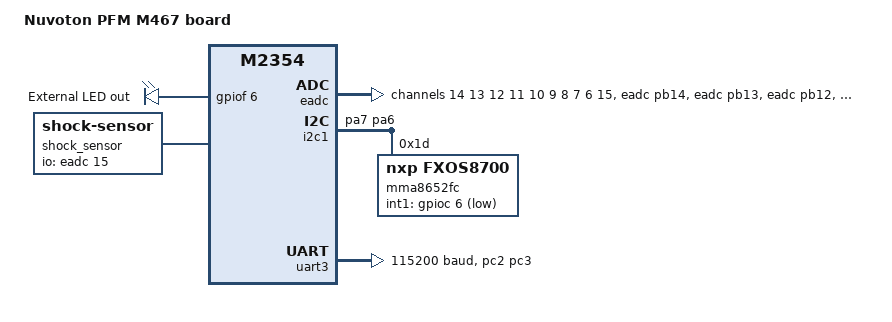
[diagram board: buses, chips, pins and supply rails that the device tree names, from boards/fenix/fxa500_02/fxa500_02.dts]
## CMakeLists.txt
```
# SPDX-License-Identifier: Apache-2.0

cmake_minimum_required(VERSION 3.20.0)

find_package(Zephyr REQUIRED HINTS $ENV{ZEPHYR_BASE})
project(fenix-fx500-hello-world)

# include(${ZEPHYR_BASE}/samples/subsys/usb/common/common.cmake)
# #target_include_directories(app PRIVATE ${ZEPHYR_BASE}/subsys/usb)

target_sources(app PRIVATE src/main.c)
target_sources_ifdef(CONFIG_DT_HAS_GPIO_LEDS_ENABLED app PRIVATE src/led.c)

# target_sources(app PRIVATE src/usb/sfunc.c)

# target_sources_ifdef(CONFIG_DT_HAS_ZEPHYR_SHOCK_SENSOR_ENABLED app PRIVATE src/shock_sensor.c)
```

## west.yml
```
manifest:
  remotes:
    - name: zephyrproject-rtos
      url-base: https://github.com/zephyrproject-rtos
    - name: baden
      url-base: https://github.com/baden
    - name: badenwork
      url-base: https://github.com/badenwork
    - name: FenixUkraine
      url-base: https://github.com/FenixUkraine

  group-filter: [-bsec2]

  projects:
    - name: zephyr
      remote: zephyrproject-rtos
      #revision: v4.1.0
      revision: main
      clone-depth: 1
      path: zephyr
      import:
        path-prefix: deps
        name-allowlist:
          - cmsis_6
          - littlefs
          - lz4
          # - hal_wch
          - hal_stm32
          - mcuboot
          - net-tools
        # name-blocklist:
        #   - ci-tools
        #   - hal_altera
        #   - hal_cypress
        #   - hal_infineon
        #   - hal_microchip
        #   - hal_nxp
        #   - hal_openisa
        #   - hal_silabs
        #   - hal_xtensa
        #   - hal_ti
        #   - loramac-node
        #   - net-tools
        #   - edtt
        #   - trusted-firmware-m
        #   - sof
      clone-depth: 1

    - name: zephyr-boards
      remote: FenixUkraine
      revision: main
      clone-depth: 1
      path: deps/zephyr-boards

    # - name: zephyr-soc-nuvoton-m2354
    #   remote: baden
    #   revision: main
    #   path: modules/zephyr/soc/nuvoton/m2354

    # - name: hal_nuvoton
    #   remote: badenwork
    #   revision: master
    #   path: modules/hal/nuvoton

    # - name: shock-sensor-driver
    #   path: modules/shock-sensor-driver
    #   url: https://github.com/baden/zephyr-shock-sensor-driver.git
    #   revision: main


  self:
    west-commands: scripts/west-commands.yml
```

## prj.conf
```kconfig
CONFIG_CAN=y
CONFIG_CAN_FD_MODE=y
# CONFIG_CAN_LOG_LEVEL_DBG=y
CONFIG_CAN_SHELL=y

# CONFIG_STATS=y
# CONFIG_STATS_NAMES=y
# CONFIG_STATS_SHELL=y
# CONFIG_CAN_STATS=y


# CONFIG_ARM_MPU=n
#CONFIG_KERNEL_MEM_POOL=n
CONFIG_BUILD_OUTPUT_HEX=y

CONFIG_PRINTK=y
CONFIG_LOG_PRINTK=n
CONFIG_STDOUT_CONSOLE=y

CONFIG_TRUSTED_EXECUTION_SECURE=n

CONFIG_LOG=y
# CONFIG_LOG_MODE_DEFERRED=y
CONFIG_LOG_MODE_IMMEDIATE=y
CONFIG_LOG_BACKEND_SHOW_COLOR=n
CONFIG_LOG_MAX_LEVEL=4
CONFIG_DEBUG=y
CONFIG_ASSERT=y
#CONFIG_DEBUG_INFO=y
CONFIG_EXCEPTION_STACK_TRACE=y
CONFIG_DEBUG_THREAD_INFO=y
CONFIG_SYMTAB=y

CONFIG_SHELL=y

# CONFIG_APP_LOG_LEVEL_DBG=y

CONFIG_MAIN_STACK_SIZE=16384
CONFIG_SYSTEM_WORKQUEUE_STACK_SIZE=4096
CONFIG_INIT_STACKS=y


CONFIG_THREAD_ANALYZER=n
CONFIG_THREAD_ANALYZER_AUTO=y
CONFIG_THREAD_ANALYZER_AUTO_INTERVAL=300
# CONFIG_THREAD_ANALYZER_USE_PRINTK=y
CONFIG_THREAD_ANALYZER_USE_LOG=y
CONFIG_THREAD_ANALYZER_AUTO_STACK_SIZE=2048



# USB CDC (?)

#CONFIG_USB_DEVICE_STACK=y
#CONFIG_USB_DEVICE_PRODUCT="Fenix CDC ACM"
#CONFIG_USB_DEVICE_PID=0x0001
#CONFIG_USB_DRIVER_LOG_LEVEL_ERR=y
#CONFIG_USB_DEVICE_LOG_LEVEL_ERR=y
##CONFIG_SERIAL=y
##CONFIG_UART_INTERRUPT_DRIVEN=y
##CONFIG_UART_LINE_CTRL=y
#CONFIG_USB_DEVICE_INITIALIZE_AT_BOOT=n


# USB WEBUSB

##CONFIG_STDOUT_CONSOLE=y
#CONFIG_USB_DEVICE_STACK=y
#CONFIG_USB_DEVICE_BOS=y
#CONFIG_SERIAL=y
#CONFIG_USB_DEVICE_PRODUCT="Zephyr WebUSB sample"
#CONFIG_USB_DEVICE_PID=0x000A
#CONFIG_UART_INTERRUPT_DRIVEN=y
#CONFIG_UART_LINE_CTRL=y
#CONFIG_USB_DEVICE_INITIALIZE_AT_BOOT=n

#CONFIG_USB_DRIVER_LOG_LEVEL_ERR=y
#CONFIG_USB_DEVICE_LOG_LEVEL_ERR=y


CONFIG_USB_DEVICE_STACK_NEXT=y
CONFIG_CDC_ACM_SERIAL_INITIALIZE_AT_BOOT=n

CONFIG_LOG=y
CONFIG_USBD_LOG_LEVEL_WRN=y
CONFIG_UDC_DRIVER_LOG_LEVEL_WRN=y
CONFIG_SAMPLE_USBD_PID=0x000A
CONFIG_SAMPLE_USBD_20_EXTENSION_DESC=y
CONFIG_USBD_THREAD_STACK_SIZE=8096


# NEXT?

#CONFIG_USB_DEVICE_STACK_NEXT=y
#CONFIG_STDOUT_CONSOLE=y
#CONFIG_SERIAL=y
#CONFIG_UART_LINE_CTRL=y
#CONFIG_USBD_CDC_ACM_CLASS=y
#CONFIG_LOG=y
#CONFIG_USBD_LOG_LEVEL_WRN=y
#CONFIG_UDC_DRIVER_LOG_LEVEL_WRN=y
#CONFIG_USBD_CDC_ACM_LOG_LEVEL_ERR=y
#CONFIG_SAMPLE_USBD_PID=0x0001
#CONFIG_SAMPLE_USBD_PRODUCT="USBD CDC ACM sample"



# The two lines below are needed to reduce flash usage
CONFIG_LTO=y
CONFIG_ISR_TABLES_LOCAL_DECLARATION=y
```

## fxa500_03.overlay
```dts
&shock_sensor {
    status = "disabled";
};

&fdcan1 {
	status = "okay";
};

&fdcan2 {
	status = "okay";
};
```

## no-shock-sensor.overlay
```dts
&shock_sensor {
    status = "disabled";
};
```

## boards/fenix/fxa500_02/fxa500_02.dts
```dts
/*
 * Copyright (c) 2023 Nuvoton Technology Corporation.
 *
 * SPDX-License-Identifier: Apache-2.0
 */

/dts-v1/;

#include <nuvoton/m2354.dtsi>
// #include "fxa500_02-pinctrl.dtsi"
#include <zephyr/dt-bindings/input/input-event-codes.h>

/ {
	model = "Nuvoton PFM M467 board";
	compatible = "nuvoton,pfm-m467", "nuvoton,m2354";

	aliases {
		led0 = &out_led;
		// sw0 = &user_button_1;
		// sw1 = &user_button_2;
		// lte = &gsm;
		adc0 = &eadc;

		// analog-inputs = &analog_inputs0;
		// v12v = &v12v;
		// shake-sensor = &shake_sensor;
		accelerometer = &accel_sensor;
		shock-sensor = &shock_sensor;
	};

	chosen {
		zephyr,console = &uart3;
		zephyr,shell-uart = &uart3;
		zephyr,sram = &sram0;
		zephyr,flash = &flash0;
		zephyr,code-partition = &code_partition;
		zephyr,boot-partition = &boot_partition;
		// zephyr,canbus = &canfd0;
	};

	leds {
		compatible = "gpio-leds";
		// status = "disabled";
		out_led: led_0 {
			gpios = <&gpiof 6 GPIO_ACTIVE_HIGH>;
			label = "External LED out";
		};
	};

	// v12v: v12v {
	// 	compatible = "voltage-divider";
	// 	status = "okay";
	// 	io-channels = <&eadc 6>;
	// 	// Cheat! Multiply by 1000 for millivolts is voltage divider sensor output
	// 	full-ohms = <(20000 + 2000)>;
	// 	output-ohms = <2>;
	// };

	// shake_sensor: shake_sensor {
	// 	compatible = "voltage-divider";
	// 	status = "okay";
	// 	io-channels = <&eadc 15>;
	// 	// Cheat! Multiply by 1000 for millivolts is voltage divider sensor output
	// 	full-ohms = <1000>;
	// 	output-ohms = <1>;
	// };

	shock_sensor: shock_sensor {
		compatible = "zephyr,shock-sensor";
		status = "okay";
		// status = "disabled";
		io-channels = <&eadc 15>;
		sampling-period-ms = <2>;
		// sampling-period-ms = <10>;
	};

	// analog_inputs0: analog-input {
	// 	compatible = "analog-input";
	// 	// poll-period-ms = <32>;
	// 	poll-period-ms = <100>;

	// 	in1 {
	// 		id = <0>;
	// 		io-channels = <&eadc 14>;
	// 		r_top = <1100>;
	// 		r_bottom = <200>;
	// 	};

	// 	in2 {
	// 		id = <1>;
	// 		io-channels = <&eadc 13>;
	// 		r_top = <1100>;
	// 		r_bottom = <200>;
	// 	};

	// 	in3 {
	// 		id = <2>;
	// 		io-channels = <&eadc 12>;
	// 		r_top = <1100>;
	// 		r_bottom = <200>;
	// 	};

	// 	in4 {
	// 		id = <3>;
	// 		io-channels = <&eadc 11>;
	// 		r_top = <1100>;
	// 		r_bottom = <200>;
	// 	};

	// 	in5 {
	// 		id = <4>;
	// 		io-channels = <&eadc 10>;
	// 		r_top = <1100>;
	// 		r_bottom = <200>;
	// 	};

	// 	in6 {
	// 		id = <5>;
	// 		io-channels = <&eadc 9>;
	// 		r_top = <1100>;
	// 		r_bottom = <200>;
	// 	};

	// 	// TODO: Я спеціально поміняв місцями два останніх канали,
	// 	// щоб перевірити чи правильно буде працювати індексація
	// 	in8 {
	// 		id = <7>;
	// 		io-channels = <&eadc 7>;
	// 		r_top = <1100>;
	// 		r_bottom = <200>;
	// 	};

	// 	in7 {
	// 		id = <6>;
	// 		io-channels = <&eadc 8>;
	// 		r_top = <1100>;
	// 		r_bottom = <200>;
	// 	};

	// };
	
	zephyr,user {
		// compatible = "gpio-output";

		// ADC inputs
		// in-1-

		// Digital Inputs
		// in-2-gpios = <&gpiob 13 GPIO_ACTIVE_HIGH>;	// 2. Капот

		// Outputs
		// out-1-gpios = <&gpiob 4 GPIO_ACTIVE_HIGH>;	// 1. Сирена
		// out-2-gpios = <&gpiob 5 GPIO_ACTIVE_HIGH>;	// 2. Аварійка
		// out-3-gpios = <&gpioc 0 GPIO_ACTIVE_HIGH>;	// 3. Закривання ЦЗ
		// out-4-gpios = <&gpiod 3 GPIO_ACTIVE_HIGH>;	// 4. Відкривання ЦЗ
		// out-5-gpios = <&gpiod 1 GPIO_ACTIVE_HIGH>;	// 5. Відкривання багажника
		// out-6-gpios = <&gpioa 15 GPIO_ACTIVE_HIGH>;	// 6. Старт/Стоп
		// out-7-gpios = <&gpiod 2 GPIO_ACTIVE_HIGH>;	// 7. НЗБД
		// out-8-gpios = <&gpioa 14 GPIO_ACTIVE_HIGH>;	// 8. Канал 1

		// io-channels = <&eadc 12>, <&eadc 14>;
		// io-channels = <&eadc 14>;

		// Analog Inputs sorted by channed index
		// adc-channels = <&eadc 14>, <&eadc 13>, <&eadc 12>, <&eadc 11>, <&eadc 10>, <&eadc 9>, <&eadc 8>, <&eadc 7>, <&eadc 6>, <&eadc 15>;
		// io-channels = <&eadc 6>, <&eadc 7>, <&eadc 8>, <&eadc 9>, <&eadc 10>, <&eadc 11>, <&eadc 12>, <&eadc 13>, <&eadc 14>, <&eadc 15>;
		// io-channels = <&eadc 15>;
	};

	// fstab {
	// 	compatible = "zephyr,fstab";
	// 	lfs1: lfs1 {
	// 		compatible = "zephyr,fstab,littlefs";
	// 		read-size = <1>;
	// 		prog-size = <16>;
	// 		cache-size = <256>;
	// 		lookahead-size = <32>;
	// 		block-cycles = <512>;
	// 		partition = <&littlefs_partition>;
	// 		mount-point = "/lfs1";
	// 	};
	// };

	// gpio_keys {
	// 	compatible = "gpio-keys";
	// 	user_button_1: button_1 {
	// 		label = "User SW2";
	// 		gpios = <&gpioh 1 GPIO_ACTIVE_LOW>;
	// 		zephyr,code = <INPUT_KEY_0>;
	// 	};
	// 	user_button_2: button_2 {
	// 		label = "User SW3";
	// 		gpios = <&gpioh 0 GPIO_ACTIVE_LOW>;
	// 		zephyr,code = <INPUT_KEY_1>;
	// 	};
	// };
};

&eadc {
	#address-cells = <1>;
	#size-cells = <0>;
	status = "okay";

	// &eadc_pb14	/* In1. Запалювання */
	channel@14 {
		reg = <14>;
		zephyr,gain = "ADC_GAIN_1";
		zephyr,reference = "ADC_REF_INTERNAL";
		zephyr,acquisition-time = <ADC_ACQ_TIME_DEFAULT>;
		zephyr,resolution = <12>;
		// zephyr,oversampling = <0>;
		zephyr,vref-mv = <3300>;
	};

	// &eadc_pb13	/* In2. Капот */
	channel@13 {
		reg = <13>;
		zephyr,gain = "ADC_GAIN_1";
		zephyr,reference = "ADC_REF_INTERNAL";
		zephyr,acquisition-time = <ADC_ACQ_TIME_DEFAULT>;
		zephyr,resolution = <12>;
		// zephyr,oversampling = <0>;
		zephyr,vref-mv = <3300>;
	};

	// &eadc_pb12	/* In3. PIN */
	channel@12 {
		reg = <12>;
		zephyr,gain = "ADC_GAIN_1";
		zephyr,reference = "ADC_REF_INTERNAL";
		zephyr,acquisition-time = <ADC_ACQ_TIME_DEFAULT>;
		zephyr,resolution = <12>;
		// zephyr,oversampling = <0>;
		zephyr,vref-mv = <3300>;
	};

	// &eadc_pb11	/* In4. Парковка */
	channel@11 {
		reg = <11>;
		zephyr,gain = "ADC_GAIN_1";
		zephyr,reference = "ADC_REF_INTERNAL";
		zephyr,acquisition-time = <ADC_ACQ_TIME_DEFAULT>;
		zephyr,resolution = <12>;
		// zephyr,oversampling = <0>;
		zephyr,vref-mv = <3300>;
	};

	// &eadc_pb10	/* In5. Тормоз */
	channel@10 {
		reg = <10>;
		zephyr,gain = "ADC_GAIN_1";
		zephyr,reference = "ADC_REF_INTERNAL";
		zephyr,acquisition-time = <ADC_ACQ_TIME_DEFAULT>;
		zephyr,resolution = <12>;
		// zephyr,oversampling = <0>;
		zephyr,vref-mv = <3300>;
	};

	// &eadc_pb9	/* In6. Мастило */
	channel@9 {
		reg = <9>;
		zephyr,gain = "ADC_GAIN_1";
		zephyr,reference = "ADC_REF_INTERNAL";
		zephyr,acquisition-time = <ADC_ACQ_TIME_DEFAULT>;
		zephyr,resolution = <12>;
		// zephyr,oversampling = <0>;
		zephyr,vref-mv = <3300>;
	};

	// &eadc_pb8	/* In7. Ручка */
	channel@8 {
		reg = <8>;
		zephyr,gain = "ADC_GAIN_1";
		zephyr,reference = "ADC_REF_INTERNAL";
		zephyr,acquisition-time = <ADC_ACQ_TIME_DEFAULT>;
		zephyr,resolution = <12>;
		// zephyr,oversampling = <0>;
		zephyr,vref-mv = <3300>;
	};

	// &eadc_pb7	/* In8. Дозвіл/Резервне живлення */
	channel@7 {
		reg = <7>;
		zephyr,gain = "ADC_GAIN_1";
		zephyr,reference = "ADC_REF_INTERNAL";
		zephyr,acquisition-time = <ADC_ACQ_TIME_DEFAULT>;
		zephyr,resolution = <12>;
		// zephyr,oversampling = <0>;
		zephyr,vref-mv = <3300>;
	};

	// &eadc_pb6	/* +12V Основне живлення */
	channel@6 {
		reg = <6>;
		zephyr,gain = "ADC_GAIN_1";
		zephyr,reference = "ADC_REF_INTERNAL";
		zephyr,acquisition-time = <ADC_ACQ_TIME_DEFAULT>;
		zephyr,resolution = <12>;
		// zephyr,oversampling = <0>;
		zephyr,vref-mv = <3300>;
	};

	// &eadc_pb15	/* Датчик удару */
	channel@15 {
		reg = <15>;
		zephyr,gain = "ADC_GAIN_1";
		zephyr,reference = "ADC_REF_INTERNAL";
		zephyr,acquisition-time = <ADC_ACQ_TIME_DEFAULT>;
		zephyr,resolution = <12>;
		// zephyr,oversampling = <0>;
		zephyr,vref-mv = <3300>;
	};

	// // 	// vref-internal-mv = <3000>;
	pinctrl-0 = <
		&eadc_pb14	/* In1. Запалювання */
		&eadc_pb13	/* In2. Капот */
		&eadc_pb12	/* In3. PIN */
		&eadc_pb11	/* In4. Парковка */
		&eadc_pb10	/* In5. Тормоз */
		&eadc_pb9	/* In6. Мастило */
		&eadc_pb8	/* In7. Ручка */
		&eadc_pb7	/* In8. Дозвіл/Резервне живлення */
		&eadc_pb6	/* +12V Основне живлення */
		&eadc_pb15	/* Датчик удару */
	>;
	pinctrl-names = "default";

// 	#address-cells = <1>;
// 	#size-cells = <0>;
// 	vref-internal-mv = <3000>;

	// channel@14 {
	// 	reg = <14>;
	// 	zephyr,gain = "ADC_GAIN_1";
	// 	zephyr,reference = "ADC_REF_INTERNAL";
	// 	zephyr,acquisition-time = <ADC_ACQ_TIME_DEFAULT>;
	// 	zephyr,resolution = <12>;
	// 	zephyr,vref-mv = <3000>;
	// 	// label = "In1. Запалювання";

	// };
};

// &spi2 {
// 	status = "okay";
// 	pinctrl-0 = <&spi2_pa9_pa8_pa10>;
// 	pinctrl-names = "default";
// 	cs-gpios = <&gpioa 11 GPIO_ACTIVE_LOW>;

// 	spi2_flash: w25q128@0 {
// 		// compatible = "winbond,w25q128";
// 		compatible = "jedec,spi-nor";
// 		size = <(16*1024*1024)>;
// 		reg = <0>;
// 		spi-max-frequency = <1000000>;
// 		// clk-frequency = <25000000>;
// 		jedec-id = [ef 40 18];		// W25Q128JV-IN/IQ/JQ = 0xEF 40 18
// 									// W25Q128JV-IM*/JM* = 0xEF 70 18
// 		status = "okay";

// 		partitions {
// 			compatible = "fixed-partitions";
// 			#address-cells = <1>;
// 			#size-cells = <1>;

// 			/* This is the littlefs v1 file system pre-installed
// 		 	* by Particle.
// 		 	*/
// 			littlefs_partition: partition@0 {
// 				label = "littlefs";
// 				reg = <0x00000000 DT_SIZE_M(8)>;	// Eah! Half of entire memory.
// 			};

// 			/* 1MB partition to use for raw data storage. */
// 			storage_partition: partition@800000 {
// 				label = "storage";
// 				reg = <DT_SIZE_M(8) DT_SIZE_M(1)>;			
// 			};

// 			/* 7MB partition for GPS-buffer data. */
// 			gps_partition: partition@900000 {
// 				label = "gps";
// 				reg = <DT_SIZE_M(8) DT_SIZE_M(7)>;
// 			};


// 		};
// 	};
// };

&i2c1 {
  status = "okay";
  pinctrl-0 = <&i2c1_pa7_pa6>;
  pinctrl-names = "default";

  // Int on PC6/INT2
  mma8652fc: mma8652fc@1d {
    compatible = "nxp,fxos8700","nxp,mma8652fc";
    reg = <0x1d>;
    int1-gpios = <&gpioc 6 (GPIO_ACTIVE_LOW | GPIO_PULL_UP)>;
    // interrupt-parent = <&gpioc>;
    // interrupts = <6 IRQ_TYPE_EDGE_FALLING>;

    accel_sensor: accel_sensor {
      compatible = "zephyr,accel-sensor";
      sampling-period-ms = <1000>;
      status = "okay";
    };
  
  };
};

// // &scc {
// // 	/* For USB 1.1 Host/Device/OTG, configure to 192MHz, which can generate necessary 48MHz. */
// // 	/* For USB 2.0 Host/Device/OTG or no USB application, comment out to use default. */
// // 	// core-clock = <192000000>;
// // 	core-clock = <4000000>;
// // };

&gpioa {
	status = "okay";
};

&gpiob {
	status = "okay";
};

&gpioc {
	status = "okay";
};

&gpiod {
	status = "okay";
};

&gpiof {
	status = "okay";
};

&flash0 {
	partitions {
		compatible = "fixed-partitions";
		#address-cells = <1>;
		#size-cells = <1>;

		// bootloader: partition@0 {
		// 	label = "mcuboot";
		// 	reg = <0x00000000 0x00020000>;
		// 	read-only;
		// };

		// boot_partition: partition@100000 {
		// 	label = "mcuboot";
		// 	reg = <0x00100000 DT_SIZE_K(16)>;
		// };

		code_partition: partition@0 {
			label = "image-0";
			reg = <0x00000000 DT_SIZE_K(512)>;
		};

		// Значення налаштувань. Змінюються тільки при налаштуванні системи
		// Дві сторінки для запобігання втрати даних
		storage_partition_tpf: partition@80000 {
			label = "storage_tpf";
			reg = <0x80000 DT_SIZE_K(16)>;
		};

		// Збереження стану системи. Змінюється при будь-якій зміні стану системи.
		// Проводиться відкадений запис за для підвищення строку служби пам'яті.
		// Запис ведеться послідовно у три сторінки.
		// Використовуються Zephyr Memory Storage (ZMS)
		// https://docs.zephyrproject.org/latest/services/storage/zms/zms.html
		storage_partition_nvs: partition@84000 {
			label = "storage_nvs";
			reg = <0x84000 DT_SIZE_K(16)>;
		};

		// Список користувачів, та всяка інша інформація, яка рідко змінюється.
		storage_partition_nvs2: partition@88000 {
			label = "storage_partition_nvs2";
			reg = <0x88000 DT_SIZE_K(64)>;
		};

		// Збереження ключів.
		storage_partition_pc_public_key: partition@98000 {
			label = "storage_pc_public_key";
			reg = <0x98000 DT_SIZE_K(16)>;
		};

		// Нерозподілена область.
		storage_partition_unused: partition@9C000 {
			label = "storage_partition_unused";
			reg = <0x9C000 DT_SIZE_K(352)>;
		};
		
		// Останні 48 кілобайти для загрузчика (треба впевнитись шо не перекривається з іншими розділами!)
		boot_partition: partition@F4000 {
			label = "bootloader";
			reg = <(DT_SIZE_K(1024) - DT_SIZE_K(48)) DT_SIZE_K(48)>;
		};
	};
};

&uart3 {
	current-speed = <115200>;
	pinctrl-0 = <&uart3_pc2_pc3>;
	pinctrl-names = "default";
	status = "okay";
};

// &uart5 {
// 	current-speed = <115200>;
// 	pinctrl-0 = <&uart5_pa4_pa5>;
// 	pinctrl-names = "default";
// 	status = "okay";

// 	gsm: gsm-modem {
// 		compatible = "simcom,a7682e";
// 		label = "SIMCOM A7682E";

// 		/*status-gpios = <&portb 12 GPIO_ACTIVE_LOW>; */

// 		status-gpios = <&gpioc 7 GPIO_ACTIVE_HIGH>;
// 		dtr-gpios = <&gpioa 2 GPIO_ACTIVE_HIGH>;
// 		pwrkey-gpios = <&gpiof 4 GPIO_ACTIVE_HIGH>;
// 		power-gpios = <&gpioa 3 GPIO_ACTIVE_HIGH>;
// 	};

// };

// &canfd0 {
// 	bus-speed = <125000>;
// 	bus-speed-data = <1000000>;
// 	pinctrl-0 = <&canfd0_default>;
// 	pinctrl-names = "default";
// 	status = "okay";
// };

// &emac {
// 	pinctrl-0 = <&emac_default>;
// 	pinctrl-names = "default";
// 	status = "okay";
// };
```

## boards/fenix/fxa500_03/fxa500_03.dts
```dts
/*
 * Copyright (c) 2023 Nuvoton Technology Corporation.
 *
 * SPDX-License-Identifier: Apache-2.0
 */

/dts-v1/;
#include <st/h5/stm32h563Xi.dtsi>
#include <st/h5/stm32h563vgtx-pinctrl.dtsi>
#include <zephyr/dt-bindings/input/input-event-codes.h>

// #include <nuvoton/m2354.dtsi>
// // #include "fxa500_02-pinctrl.dtsi"
// #include <zephyr/dt-bindings/input/input-event-codes.h>

/ {
	model = "Fenix FXA500-03 board";
	compatible = "st,stm32h563";

	aliases {
		led0 = &out_led;
		// sw0 = &user_button_1;
		// sw1 = &user_button_2;
		// lte = &gsm;
		// adc0 = &eadc;

		// analog-inputs = &analog_inputs0;
		// v12v = &v12v;
		// shake-sensor = &shake_sensor;
		// accelerometer = &mma8652fc;

		// shock-sensor = &shock_sensor;
	};

	/*
	transceiver1: can-phy1 {
		compatible = "microchip,mcp2562fd", "can-transceiver-gpio";
		standby-gpios = <&gpiob 7 GPIO_ACTIVE_LOW>;
		max-bitrate = <5000000>;
		#phy-cells = <0>;
	};

	transceiver2: can-phy2 {
		compatible = "microchip,mcp2562fd", "can-transceiver-gpio";
		standby-gpios = <&gpioe 0 GPIO_ACTIVE_LOW>;
		max-bitrate = <5000000>;
		#phy-cells = <0>;
	};
	*/

	chosen {
		zephyr,console = &uart4;
		zephyr,shell-uart = &uart4;
		zephyr,sram = &sram1;
		zephyr,flash = &flash0;
		zephyr,code-partition = &code_partition;
		zephyr,boot-partition = &boot_partition;
		// zephyr,canbus = &fdcan1;
	};

	leds {
		compatible = "gpio-leds";
		// status = "disabled";
		out_led: led_0 {
			gpios = <&gpioc 9 GPIO_ACTIVE_HIGH>;
			label = "External LED out";
		};
	};

	// v12v: v12v {
	// 	compatible = "voltage-divider";
	// 	status = "okay";
	// 	io-channels = <&eadc 6>;
	// 	// Cheat! Multiply by 1000 for millivolts is voltage divider sensor output
	// 	full-ohms = <(20000 + 2000)>;
	// 	output-ohms = <2>;
	// };

	// shake_sensor: shake_sensor {
	// 	compatible = "voltage-divider";
	// 	status = "okay";
	// 	io-channels = <&eadc 15>;
	// 	// Cheat! Multiply by 1000 for millivolts is voltage divider sensor output
	// 	full-ohms = <1000>;
	// 	output-ohms = <1>;
	// };

	// shock_sensor: shock_sensor {
	// 	compatible = "zephyr,shock-sensor";
	// 	status = "okay";
	// 	// status = "disabled";
	// 	io-channels = <&eadc 15>;
	// 	sampling-period-ms = <2>;
	// 	// sampling-period-ms = <10>;
	// };

	// analog_inputs0: analog-input {
	// 	compatible = "analog-input";
	// 	// poll-period-ms = <32>;
	// 	poll-period-ms = <100>;

	// 	in1 {
	// 		id = <0>;
	// 		io-channels = <&eadc 14>;
	// 		r_top = <1100>;
	// 		r_bottom = <200>;
	// 	};

	// 	in2 {
	// 		id = <1>;
	// 		io-channels = <&eadc 13>;
	// 		r_top = <1100>;
	// 		r_bottom = <200>;
	// 	};

	// 	in3 {
	// 		id = <2>;
	// 		io-channels = <&eadc 12>;
	// 		r_top = <1100>;
	// 		r_bottom = <200>;
	// 	};

	// 	in4 {
	// 		id = <3>;
	// 		io-channels = <&eadc 11>;
	// 		r_top = <1100>;
	// 		r_bottom = <200>;
	// 	};

	// 	in5 {
	// 		id = <4>;
	// 		io-channels = <&eadc 10>;
	// 		r_top = <1100>;
	// 		r_bottom = <200>;
	// 	};

	// 	in6 {
	// 		id = <5>;
	// 		io-channels = <&eadc 9>;
	// 		r_top = <1100>;
	// 		r_bottom = <200>;
	// 	};

	// 	// TODO: Я спеціально поміняв місцями два останніх канали,
	// 	// щоб перевірити чи правильно буде працювати індексація
	// 	in8 {
	// 		id = <7>;
	// 		io-channels = <&eadc 7>;
	// 		r_top = <1100>;
	// 		r_bottom = <200>;
	// 	};

	// 	in7 {
	// 		id = <6>;
	// 		io-channels = <&eadc 8>;
	// 		r_top = <1100>;
	// 		r_bottom = <200>;
	// 	};

	// };

	zephyr,user {
		// compatible = "gpio-output";

		// ADC inputs
		// in-1-

		// Digital Inputs
		// in-2-gpios = <&gpiob 13 GPIO_ACTIVE_HIGH>;	// 2. Капот

		// Outputs
		// out-1-gpios = <&gpiob 4 GPIO_ACTIVE_HIGH>;	// 1. Сирена
		// out-2-gpios = <&gpiob 5 GPIO_ACTIVE_HIGH>;	// 2. Аварійка
		// out-3-gpios = <&gpioc 0 GPIO_ACTIVE_HIGH>;	// 3. Закривання ЦЗ
		// out-4-gpios = <&gpiod 3 GPIO_ACTIVE_HIGH>;	// 4. Відкривання ЦЗ
		// out-5-gpios = <&gpiod 1 GPIO_ACTIVE_HIGH>;	// 5. Відкривання багажника
		// out-6-gpios = <&gpioa 15 GPIO_ACTIVE_HIGH>;	// 6. Старт/Стоп
		// out-7-gpios = <&gpiod 2 GPIO_ACTIVE_HIGH>;	// 7. НЗБД
		// out-8-gpios = <&gpioa 14 GPIO_ACTIVE_HIGH>;	// 8. Канал 1

		// io-channels = <&eadc 12>, <&eadc 14>;
		// io-channels = <&eadc 14>;

		// Analog Inputs sorted by channed index
		// adc-channels = <&eadc 14>, <&eadc 13>, <&eadc 12>, <&eadc 11>, <&eadc 10>, <&eadc 9>, <&eadc 8>, <&eadc 7>, <&eadc 6>, <&eadc 15>;
		// io-channels = <&eadc 6>, <&eadc 7>, <&eadc 8>, <&eadc 9>, <&eadc 10>, <&eadc 11>, <&eadc 12>, <&eadc 13>, <&eadc 14>, <&eadc 15>;
		// io-channels = <&eadc 15>;
	};

	// fstab {
	// 	compatible = "zephyr,fstab";
	// 	lfs1: lfs1 {
	// 		compatible = "zephyr,fstab,littlefs";
	// 		read-size = <1>;
	// 		prog-size = <16>;
	// 		cache-size = <256>;
	// 		lookahead-size = <32>;
	// 		block-cycles = <512>;
	// 		partition = <&littlefs_partition>;
	// 		mount-point = "/lfs1";
	// 	};
	// };

	// gpio_keys {
	// 	compatible = "gpio-keys";
	// 	user_button_1: button_1 {
	// 		label = "User SW2";
	// 		gpios = <&gpioh 1 GPIO_ACTIVE_LOW>;
	// 		zephyr,code = <INPUT_KEY_0>;
	// 	};
	// 	user_button_2: button_2 {
	// 		label = "User SW3";
	// 		gpios = <&gpioh 0 GPIO_ACTIVE_LOW>;
	// 		zephyr,code = <INPUT_KEY_1>;
	// 	};
	// };
};

&clk_hse {
	clock-frequency = <DT_FREQ_M(8)>; /* STLink 8MHz clock */
	// hse-bypass;
	status = "okay";
};

&clk_hsi48 {
	status = "okay";
	// crs-usb-sof;
};

&clk_lse {
	status = "okay";
};

// PLL take 128...560MHz
&pll {
	div-m = <2>;	// 8MHx / 2 = 4MHz
	mul-n = <120>;	// 4MHz * 120 = 480MHz
	div-p = <2>;	// 480MHz / 2 = 240MHz (->SYSCLK)
	div-q = <3>;	// 480MHz / 3 = 160MHz (->FDCAN,...?)
	div-r = <2>;	// 480MHz / 2 = 80MHz
	clocks = <&clk_hse>;	// HSE = 8MHz
	status = "okay";
};

&rcc {
	clocks = <&pll>;
	clock-frequency = <DT_FREQ_M(240)>;
	ahb-prescaler = <1>;
	apb1-prescaler = <2>;
	apb2-prescaler = <1>;
	apb3-prescaler = <2>;
};

zephyr_udc0: &usb {
	pinctrl-0 = <&usb_dm_pa11 &usb_dp_pa12>;
	pinctrl-names = "default";
	status = "okay";
};

//&usb {
//	status = "okay";
/*	usb_cdc@0 {
		compatible = "usb,usb_cdc";
		status = "okay";
	};
*/
//};

/*
&fdcan1 {
	pinctrl-0 = <&fdcan1_rx_pb8 &fdcan1_tx_pb9>;
	pinctrl-names = "default";
	clocks = <&rcc STM32_CLOCK_BUS_APB1_2 0x00000200>,
		 <&rcc STM32_SRC_PLL1_Q FDCAN_SEL(1)>;
	clk-divider = <2>;
	phys = <&transceiver1>;
	status = "okay";
};

&fdcan2 {
	pinctrl-0 = <&fdcan2_rx_pb5 &fdcan2_tx_pb6>;
	pinctrl-names = "default";
	clocks = <&rcc STM32_CLOCK_BUS_APB1_2 0x00000200>,
		 <&rcc STM32_SRC_PLL1_Q FDCAN_SEL(1)>;
	clk-divider = <2>;
	phys = <&transceiver2>;
	status = "okay";
};
*/

// &eadc {
// 	#address-cells = <1>;
// 	#size-cells = <0>;
// 	status = "okay";

// 	// &eadc_pb14	/* In1. Запалювання */
// 	channel@14 {
// 		reg = <14>;
// 		zephyr,gain = "ADC_GAIN_1";
// 		zephyr,reference = "ADC_REF_INTERNAL";
// 		zephyr,acquisition-time = <ADC_ACQ_TIME_DEFAULT>;
// 		zephyr,resolution = <12>;
// 		// zephyr,oversampling = <0>;
// 		zephyr,vref-mv = <3300>;
// 	};

// 	// &eadc_pb13	/* In2. Капот */
// 	channel@13 {
// 		reg = <13>;
// 		zephyr,gain = "ADC_GAIN_1";
// 		zephyr,reference = "ADC_REF_INTERNAL";
// 		zephyr,acquisition-time = <ADC_ACQ_TIME_DEFAULT>;
// 		zephyr,resolution = <12>;
// 		// zephyr,oversampling = <0>;
// 		zephyr,vref-mv = <3300>;
// 	};

// 	// &eadc_pb12	/* In3. PIN */
// 	channel@12 {
// 		reg = <12>;
// 		zephyr,gain = "ADC_GAIN_1";
// 		zephyr,reference = "ADC_REF_INTERNAL";
// 		zephyr,acquisition-time = <ADC_ACQ_TIME_DEFAULT>;
// 		zephyr,resolution = <12>;
// 		// zephyr,oversampling = <0>;
// 		zephyr,vref-mv = <3300>;
// 	};

// 	// &eadc_pb11	/* In4. Парковка */
// 	channel@11 {
// 		reg = <11>;
// 		zephyr,gain = "ADC_GAIN_1";
// 		zephyr,reference = "ADC_REF_INTERNAL";
// 		zephyr,acquisition-time = <ADC_ACQ_TIME_DEFAULT>;
// 		zephyr,resolution = <12>;
// 		// zephyr,oversampling = <0>;
// 		zephyr,vref-mv = <3300>;
// 	};

// 	// &eadc_pb10	/* In5. Тормоз */
// 	channel@10 {
// 		reg = <10>;
// 		zephyr,gain = "ADC_GAIN_1";
// 		zephyr,reference = "ADC_REF_INTERNAL";
// 		zephyr,acquisition-time = <ADC_ACQ_TIME_DEFAULT>;
// 		zephyr,resolution = <12>;
// 		// zephyr,oversampling = <0>;
// 		zephyr,vref-mv = <3300>;
// 	};

// 	// &eadc_pb9	/* In6. Мастило */
// 	channel@9 {
// 		reg = <9>;
// 		zephyr,gain = "ADC_GAIN_1";
// 		zephyr,reference = "ADC_REF_INTERNAL";
// 		zephyr,acquisition-time = <ADC_ACQ_TIME_DEFAULT>;
// 		zephyr,resolution = <12>;
// 		// zephyr,oversampling = <0>;
// 		zephyr,vref-mv = <3300>;
// 	};

// 	// &eadc_pb8	/* In7. Ручка */
// 	channel@8 {
// 		reg = <8>;
// 		zephyr,gain = "ADC_GAIN_1";
// 		zephyr,reference = "ADC_REF_INTERNAL";
// 		zephyr,acquisition-time = <ADC_ACQ_TIME_DEFAULT>;
// 		zephyr,resolution = <12>;
// 		// zephyr,oversampling = <0>;
// 		zephyr,vref-mv = <3300>;
// 	};

// 	// &eadc_pb7	/* In8. Дозвіл/Резервне живлення */
// 	channel@7 {
// 		reg = <7>;
// 		zephyr,gain = "ADC_GAIN_1";
// 		zephyr,reference = "ADC_REF_INTERNAL";
// 		zephyr,acquisition-time = <ADC_ACQ_TIME_DEFAULT>;
// 		zephyr,resolution = <12>;
// 		// zephyr,oversampling = <0>;
// 		zephyr,vref-mv = <3300>;
// 	};

// 	// &eadc_pb6	/* +12V Основне живлення */
// 	channel@6 {
// 		reg = <6>;
// 		zephyr,gain = "ADC_GAIN_1";
// 		zephyr,reference = "ADC_REF_INTERNAL";
// 		zephyr,acquisition-time = <ADC_ACQ_TIME_DEFAULT>;
// 		zephyr,resolution = <12>;
// 		// zephyr,oversampling = <0>;
// 		zephyr,vref-mv = <3300>;
// 	};

// 	// &eadc_pb15	/* Датчик удару */
// 	channel@15 {
// 		reg = <15>;
// 		zephyr,gain = "ADC_GAIN_1";
// 		zephyr,reference = "ADC_REF_INTERNAL";
// 		zephyr,acquisition-time = <ADC_ACQ_TIME_DEFAULT>;
// 		zephyr,resolution = <12>;
// 		// zephyr,oversampling = <0>;
// 		zephyr,vref-mv = <3300>;
// 	};

// 	// // 	// vref-internal-mv = <3000>;
// 	pinctrl-0 = <
// 		&eadc_pb14	/* In1. Запалювання */
// 		&eadc_pb13	/* In2. Капот */
// 		&eadc_pb12	/* In3. PIN */
// 		&eadc_pb11	/* In4. Парковка */
// 		&eadc_pb10	/* In5. Тормоз */
// 		&eadc_pb9	/* In6. Мастило */
// 		&eadc_pb8	/* In7. Ручка */
// 		&eadc_pb7	/* In8. Дозвіл/Резервне живлення */
// 		&eadc_pb6	/* +12V Основне живлення */
// 		&eadc_pb15	/* Датчик удару */
// 	>;
// 	pinctrl-names = "default";

// // 	#address-cells = <1>;
// // 	#size-cells = <0>;
// // 	vref-internal-mv = <3000>;

// 	// channel@14 {
// 	// 	reg = <14>;
// 	// 	zephyr,gain = "ADC_GAIN_1";
// 	// 	zephyr,reference = "ADC_REF_INTERNAL";
// 	// 	zephyr,acquisition-time = <ADC_ACQ_TIME_DEFAULT>;
// 	// 	zephyr,resolution = <12>;
// 	// 	zephyr,vref-mv = <3000>;
// 	// 	// label = "In1. Запалювання";

// 	// };
// };

// &spi2 {
// 	status = "okay";
// 	pinctrl-0 = <&spi2_pa9_pa8_pa10>;
// 	pinctrl-names = "default";
// 	cs-gpios = <&gpioa 11 GPIO_ACTIVE_LOW>;

// 	spi2_flash: w25q128@0 {
// 		// compatible = "winbond,w25q128";
// 		compatible = "jedec,spi-nor";
// 		size = <(16*1024*1024)>;
// 		reg = <0>;
// 		spi-max-frequency = <1000000>;
// 		// clk-frequency = <25000000>;
// 		jedec-id = [ef 40 18];		// W25Q128JV-IN/IQ/JQ = 0xEF 40 18
// 									// W25Q128JV-IM*/JM* = 0xEF 70 18
// 		status = "okay";

// 		partitions {
// 			compatible = "fixed-partitions";
// 			#address-cells = <1>;
// 			#size-cells = <1>;

// 			/* This is the littlefs v1 file system pre-installed
// 		 	* by Particle.
// 		 	*/
// 			littlefs_partition: partition@0 {
// 				label = "littlefs";
// 				reg = <0x00000000 DT_SIZE_M(8)>;	// Eah! Half of entire memory.
// 			};

// 			/* 1MB partition to use for raw data storage. */
// 			storage_partition: partition@800000 {
// 				label = "storage";
// 				reg = <DT_SIZE_M(8) DT_SIZE_M(1)>;
// 			};

// 			/* 7MB partition for GPS-buffer data. */
// 			gps_partition: partition@900000 {
// 				label = "gps";
// 				reg = <DT_SIZE_M(8) DT_SIZE_M(7)>;
// 			};


// 		};
// 	};
// };

// &i2c1 {
// 	status = "okay";
// 	pinctrl-0 = <&i2c1_pa7_pa6>;
// 	pinctrl-names = "default";

// 	// Int on PC6/INT2
// 	mma8652fc: mma8652fc@1d {
// 		compatible = "nxp,fxos8700","nxp,mma8652fc";
// 		reg = <0x1d>;
// 		int1-gpios = <&gpioc 6 (GPIO_ACTIVE_LOW | GPIO_PULL_UP)>;
// 		// interrupt-parent = <&gpioc>;
// 		// interrupts = <6 IRQ_TYPE_EDGE_FALLING>;
// 	};
// };

// // &scc {
// // 	/* For USB 1.1 Host/Device/OTG, configure to 192MHz, which can generate necessary 48MHz. */
// // 	/* For USB 2.0 Host/Device/OTG or no USB application, comment out to use default. */
// // 	// core-clock = <192000000>;
// // 	core-clock = <4000000>;
// // };

&gpioa {
	status = "okay";
};

&gpiob {
	status = "okay";
};

&gpioc {
	status = "okay";
};

&gpiod {
	status = "okay";
};

&gpioe {
	status = "okay";
};

&gpioh {
	status = "okay";
};

&flash0 {
	partitions {
		compatible = "fixed-partitions";
		#address-cells = <1>;
		#size-cells = <1>;

		// bootloader: partition@0 {
		// 	label = "mcuboot";
		// 	reg = <0x00000000 0x00020000>;
		// 	read-only;
		// };

		// boot_partition: partition@100000 {
		// 	label = "mcuboot";
		// 	reg = <0x00100000 DT_SIZE_K(16)>;
		// };

		code_partition: partition@0 {
			label = "image-0";
			reg = <0x00000000 DT_SIZE_K(512)>;
		};

		// Значення налаштувань. Змінюються тільки при налаштуванні системи
		// Дві сторінки для запобігання втрати даних
		storage_partition_tpf: partition@80000 {
			label = "storage_tpf";
			reg = <0x80000 DT_SIZE_K(16)>;
		};

		// Збереження стану системи. Змінюється при будь-якій зміні стану системи.
		// Проводиться відкадений запис за для підвищення строку служби пам'яті.
		// Запис ведеться послідовно у три сторінки.
		// Використовуються Zephyr Memory Storage (ZMS)
		// https://docs.zephyrproject.org/latest/services/storage/zms/zms.html
		storage_partition_nvs: partition@84000 {
			label = "storage_nvs";
			reg = <0x84000 DT_SIZE_K(16)>;
		};

		// Список користувачів, та всяка інша інформація, яка рідко змінюється.
		storage_partition_nvs2: partition@88000 {
			label = "storage_partition_nvs2";
			reg = <0x88000 DT_SIZE_K(64)>;
		};

		// Збереження ключів.
		storage_partition_pc_public_key: partition@98000 {
			label = "storage_pc_public_key";
			reg = <0x98000 DT_SIZE_K(16)>;
		};

		// Нерозподілена область.
		storage_partition_unused: partition@9C000 {
			label = "storage_partition_unused";
			reg = <0x9C000 DT_SIZE_K(352)>;
		};

		// Останні 48 кілобайти для загрузчика (треба впевнитись шо не перекривається з іншими розділами!)
		boot_partition: partition@F4000 {
			label = "bootloader";
			reg = <(DT_SIZE_K(1024) - DT_SIZE_K(48)) DT_SIZE_K(48)>;
		};
	};
};

// &uart3 {
// 	current-speed = <115200>;
// 	pinctrl-0 = <&uart3_pc2_pc3>;
// 	pinctrl-names = "default";
// 	status = "okay";
// };

// Used for console and logging
&uart4 {
	pinctrl-0 = <&uart4_tx_pc10 &uart4_rx_pc11>;
	pinctrl-names = "default";
	current-speed = <115200>;
	status = "okay";
};

// Maybe will be used for ESP32 flashing
&usart1 {
	pinctrl-0 = <&usart1_tx_pa9 &usart1_rx_pa10>;
	pinctrl-names = "default";
	current-speed = <115200>;
	//status = "okay";
};


// Used for LIN
&uart12 {
	pinctrl-0 = <&uart12_tx_pe10 &uart12_rx_pe9>;
	pinctrl-names = "default";
	current-speed = <19200>;
	//status = "okay";
	// TODO: https://github.com/dragonlock2/zephyrboards/blob/main/boards/others/stm32_esc/stm32_esc.dts
    lin0: lin0 {
        compatible = "virtual,lin-uart";
        status = "okay";
        bitrate = <19200>;
        max-wait-percent = <200>;
    };
};


// Used for BLE (AT?)
&uart9 {
	pinctrl-0 = <&uart9_tx_pd15 &uart9_rx_pd14 &uart9_cts_pd0 &uart9_rts_pd13>;
	pinctrl-names = "default";
	current-speed = <115200>;
	hw-flow-control;
	//status = "okay";
    //atble: atble {
    //    compatible = "virtual,atble-uart";
    //    status = "okay";
    //};
};




&spi2 {
	pinctrl-0 = <&spi2_sck_pb13 &spi2_miso_pb14 &spi2_mosi_pb15>;
	pinctrl-names = "default";
	cs-gpios = <&gpiob 12 (GPIO_ACTIVE_LOW | GPIO_PULL_UP)>;
	status = "disabled";

	lis2dw12: lis2dw12@0 {
		compatible = "st,lis2dw12";
		spi-max-frequency = <1000000>;
		reg = <0>;
		irq-gpios = <&gpiod 8 GPIO_ACTIVE_HIGH>;
	};

};

&xspi1 {
	pinctrl-0 = <&octospi1_io0_pb1 &octospi1_io1_pb0
		     &octospi1_io2_pa7 &octospi1_io3_pa6
		     &octospi1_clk_pb2 &octospi1_ncs_pe11>;
	pinctrl-names = "default";
	status = "disabled";

	w25q128jv: w25q128jv@0 {
		status="okay";
		// compatible = "st,stm32-qspi-nor";
		// compatible = "jedec,spi-nor";
		compatible = "st,stm32-xspi-nor";
		reg = <0>;
		size = <DT_SIZE_M(16)>;
		spi-bus-width = <XSPI_QUAD_MODE>;
		// data-rate = <XSPI_DTR_TRANSFER>;
		data-rate = <XSPI_STR_TRANSFER>;
		// size = <DT_SIZE_M(128)>;
		// writeoc = "pp4io";
		// readoc = "read4io";
		ospi-max-frequency = <DT_FREQ_M(133)>;
		// sck-frequency = <DT_FREQ_M(133)>;
		// W25Q128JV-IN/IQ/JQ = 0xEF 40 18
		// W25Q128JV-IM*/JM* = 0xEF 70 18
		jedec-id = [ef 40 18];

		// has-dpd;
		// t-enter-dpd = <3000>;
		// t-exit-dpd = <3000>;

		// erase-block-size = <4096>;
		// write-block-size = <1>;

		partitions {
			compatible = "fixed-partitions";
			#address-cells = <1>;
			#size-cells = <1>;

			/* This is the littlefs v1 file system pre-installed
		 	* by Particle.
		 	*/
			littlefs_partition: partition@0 {
				label = "littlefs";
				reg = <0x00000000 DT_SIZE_M(8)>;	// Eah! Half of entire memory.
			};

			/* 1MB partition to use for raw data storage. */
			storage_partition: partition@800000 {
				label = "storage";
				reg = <DT_SIZE_M(8) DT_SIZE_M(1)>;
			};

			/* 7MB partition for GPS-buffer data. */
			gps_partition: partition@900000 {
				label = "gps";
				reg = <DT_SIZE_M(8) DT_SIZE_M(7)>;
			};
		};
	};

};

// &uart5 {
// 	current-speed = <115200>;
// 	pinctrl-0 = <&uart5_pa4_pa5>;
// 	pinctrl-names = "default";
// 	status = "okay";

// 	gsm: gsm-modem {
// 		compatible = "simcom,a7682e";
// 		label = "SIMCOM A7682E";

// 		/*status-gpios = <&portb 12 GPIO_ACTIVE_LOW>; */

// 		status-gpios = <&gpioc 7 GPIO_ACTIVE_HIGH>;
// 		dtr-gpios = <&gpioa 2 GPIO_ACTIVE_HIGH>;
// 		pwrkey-gpios = <&gpiof 4 GPIO_ACTIVE_HIGH>;
// 		power-gpios = <&gpioa 3 GPIO_ACTIVE_HIGH>;
// 	};

// };

// &canfd0 {
// 	bus-speed = <125000>;
// 	bus-speed-data = <1000000>;
// 	pinctrl-0 = <&canfd0_default>;
// 	pinctrl-names = "default";
// 	status = "okay";
// };

// &emac {
// 	pinctrl-0 = <&emac_default>;
// 	pinctrl-names = "default";
// 	status = "okay";
// };


// For low-power tick source

stm32_lp_tick_source: &lptim4 {
	clocks = <&rcc STM32_CLOCK(APB3, 13)>,
		 <&rcc STM32_SRC_LSI LPTIM4_SEL(4)>;
	status = "okay";
};
```

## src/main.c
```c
#define LOG_LEVEL CONFIG_USB_DEVICE_LOG_LEVEL
#include <zephyr/logging/log.h>
LOG_MODULE_REGISTER(main);

#include <zephyr/kernel.h>
#include <zephyr/sys/printk.h>
#include <zephyr/drivers/can.h>
#include <zephyr/device.h>
#include <zephyr/devicetree.h>
#include <zephyr/drivers/gpio.h>
#include <zephyr/drivers/can/transceiver.h>
#include <string.h>

/* ================= AUTO-BAUD SUPPORT ================= */

struct can_timing_entry {
    struct can_timing timing;
    uint32_t bitrate;
};

static const struct can_timing_entry can_bitrate_table[] = {
    { { .sjw = 1, .prop_seg = 0, .phase_seg1 = 13, .phase_seg2 = 2, .prescaler = 10   }, 1000000 },
    { { .sjw = 1, .prop_seg = 0, .phase_seg1 = 13, .phase_seg2 = 2, .prescaler = 20   }, 500000  },
    { { .sjw = 1, .prop_seg = 0, .phase_seg1 = 13, .phase_seg2 = 2, .prescaler = 40   }, 250000  },
    { { .sjw = 1, .prop_seg = 0, .phase_seg1 = 13, .phase_seg2 = 2, .prescaler = 80   }, 125000  },
    { { .sjw = 1, .prop_seg = 0, .phase_seg1 = 13, .phase_seg2 = 2, .prescaler = 100  }, 100000  },

    { { .sjw = 1, .prop_seg = 0, .phase_seg1 = 13, .phase_seg2 = 2, .prescaler = 120  }, 83333   },
    { { .sjw = 1, .prop_seg = 0, .phase_seg1 = 13, .phase_seg2 = 2, .prescaler = 200  }, 50000   },
    { { .sjw = 1, .prop_seg = 0, .phase_seg1 = 13, .phase_seg2 = 2, .prescaler = 300  }, 33333   },

    { { .sjw = 1, .prop_seg = 0, .phase_seg1 = 13, .phase_seg2 = 2, .prescaler = 400  }, 25000   },
    { { .sjw = 1, .prop_seg = 0, .phase_seg1 = 13, .phase_seg2 = 2, .prescaler = 500  }, 20000   },
};

static int sniff_filter_id = -1;
static volatile bool can_rx_seen;

static void can_rx_detect_cb(const struct device *dev,
                             struct can_frame *frame,
                             void *user_data)
{
    ARG_UNUSED(dev);
    ARG_UNUSED(frame);
    ARG_UNUSED(user_data);
    can_rx_seen = true;
}

static bool wait_for_can_rx(uint32_t timeout_ms)
{
    can_rx_seen = false;
    uint32_t start = k_uptime_get_32();

    while ((k_uptime_get_32() - start) < timeout_ms) {
        if (can_rx_seen) {
            return true;
        }
        k_msleep(5);
    }
    return false;
}

static int can_auto_baud(const struct device *can,
                         uint32_t *detected_bitrate)
{
    struct can_filter sniff_filter = {
        .flags = 0,
        .id = 0x000,
        .mask = 0x000,
    };

    printk("FDCAN auto-baud started...\n");

    sniff_filter_id = can_add_rx_filter(can,
                          can_rx_detect_cb,
                          NULL,
                          &sniff_filter);
                          
    for (int i = 0; i < ARRAY_SIZE(can_bitrate_table); i++) {

        printk("Trying bitrate %u...\n",
               can_bitrate_table[i].bitrate);

        can_stop(can);

        if (can_set_timing(can,
            &can_bitrate_table[i].timing)) {
            printk("can_set_timing failed\n");
            continue;
        }

        can_set_mode(can, CAN_MODE_LISTENONLY);

        if (can_start(can)) {
            printk("can_start failed\n");
            continue;
        }

        if (wait_for_can_rx(1000)) {

            enum can_state state;
            struct can_bus_err_cnt err;

            can_get_state(can, &state, &err);

            printk("RX detected: state=%d tx=%d rx=%d\n",
                state, err.tx_err_cnt, err.rx_err_cnt);

            if (state != CAN_STATE_BUS_OFF) {

                printk("✔ Bitrate detected: %u\n",
                    can_bitrate_table[i].bitrate);

                can_stop(can);
                if (sniff_filter_id >= 0) {
                    can_remove_rx_filter(can, sniff_filter_id);
                    sniff_filter_id = -1;
                }
                can_set_mode(can, CAN_MODE_NORMAL);
                can_start(can);

                if (detected_bitrate) {
                    *detected_bitrate = can_bitrate_table[i].bitrate;
                }
                
                return 0;
            }
        }

        can_stop(can);
        k_msleep(50);
    }
    
    if (sniff_filter_id >= 0) {
        can_remove_rx_filter(can, sniff_filter_id);
        sniff_filter_id = -1;
    }
    printk("❌ Auto-baud failed\n");
    return -ENODEV;
}

/* ================= NORMAL CAN CALLBACK ================= */

static void can_rx_callback(const struct device *dev,
                            struct can_frame *frame,
                            void *user_data)
{
    const char *name = (const char *)user_data;

    printk("%s received frame - ID: 0x%03X, DLC: %d, Data: ",
           name, frame->id, frame->dlc);

    for (int i = 0; i < frame->dlc; i++) {
        printk("0x%02X ", frame->data[i]);
    }
    printk("\n");
}

static int can_send_frame(const struct device *dev,
                          uint32_t id,
                          const uint8_t *data,
                          uint8_t dlc,
                          const char *name)
{
    struct can_frame frame = {
        .id = id,
        .dlc = dlc
    };

    if (data && dlc) {
        memcpy(frame.data, data, MIN(dlc, 8));
    }

    printk("[%s] Sending frame ID=0x%03X\n", name, id);

    int ret = can_send(dev, &frame, K_MSEC(2000), NULL, NULL);
    if (ret) {
        enum can_state state;
        struct can_bus_err_cnt err;

        printk("[%s] Send failed: %d\n", name, ret);
        if (!can_get_state(dev, &state, &err)) {
            printk("[%s] state=%d tx=%d rx=%d\n",
                   name, state, err.tx_err_cnt, err.rx_err_cnt);
        }
        return ret;
    }

    printk("[%s] ✓ Frame sent\n", name);
    return 0;
}

/* ============================= MAIN ============================= */

int main(void)
{
    const struct device *can1 = DEVICE_DT_GET(DT_NODELABEL(fdcan1));
    const struct device *can2 = DEVICE_DT_GET(DT_NODELABEL(fdcan2));

    struct can_timing fixed_timing = {
        .sjw = 1,
        .prop_seg = 0,
        .phase_seg1 = 13,
        .phase_seg2 = 2,
        .prescaler = 20 /* 500 kbit */
    };

    struct can_filter filter1 = {
        .flags = 0,
        .id = 0x123,
        .mask = CAN_STD_ID_MASK
    };

    struct can_filter filter2 = {
        .flags = 0,
        .id = 0x124,
        .mask = CAN_STD_ID_MASK
    };

    uint8_t data1[] = {0x01};
    uint8_t data2[] = {0x02};

    printk("CAN init started\n");

    /* ---------- CAN1 : AUTO-BAUD ---------- */
    uint32_t detected_bitrate;
    if (can_auto_baud(can1, &detected_bitrate) == 0) {
        printk("CAN1 ready @ %u\n", detected_bitrate);
        can_stop(can1);
        can_add_rx_filter(can1,
                          can_rx_callback,
                          "FDCAN1",
                          &filter1);
        can_set_mode(can1, CAN_MODE_NORMAL);
        can_start(can1);
    } else {
        printk("CAN1 auto-baud FAILED\n");
    }

    /* ---------- CAN2 : FIXED 500k ---------- */
    can_set_timing(can2, &fixed_timing);
    can_add_rx_filter(can2, can_rx_callback, "FDCAN2", &filter2);
    can_set_mode(can2, CAN_MODE_NORMAL);
    can_start(can2);

    printk("Both CAN started\n");
    k_msleep(1000);

    can_send_frame(can1, 0x123, data1, 1, "FDCAN1");
    can_send_frame(can2, 0x124, data2, 1, "FDCAN2");

    for (;;) {
        k_msleep(1000);
    }
}
```

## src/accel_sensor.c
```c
#include <zephyr/sys/printk.h>
#include <zephyr/kernel.h>
#include <zephyr/drivers/sensor.h>
#include <sensor/accel-sensor.h>


#define ACCEL_NODE       DT_ALIAS(accelerometer)

static const struct device *dev = DEVICE_DT_GET(ACCEL_NODE);

void accel_motion_handler_warn(const struct device *dev, const struct sensor_trigger *trig)
{
    printk("WARN Motion detected!\n");
    // sensor_attr_set(dev, SENSOR_CHAN_ACCEL_XYZ, SENSOR_ATTR_SAMPLING_FREQUENCY, &(struct sensor_value){ .val1 = 50, .val2 = 0 });
}

void accel_motion_handler_main(const struct device *dev, const struct sensor_trigger *trig)
{
    printk("MAIN Motion detected!\n");
    // sensor_attr_set(dev, SENSOR_CHAN_ACCEL_XYZ, SENSOR_ATTR_SAMPLING_FREQUENCY, &(struct sensor_value){ .val1 = 50, .val2 = 0 });
}

// const struct sensor_trigger trig_warn = {
//     .chan = SENSOR_CHAN_ACCEL_XYZ,
//     .type = ACCEL_SENSOR_TRIG_WARN,
// };

// const struct sensor_trigger trig_main = {
//     .chan = SENSOR_CHAN_ACCEL_XYZ,
//     .type = ACCEL_SENSOR_TRIG_MAIN,
// };

static int init()
{
    if (!device_is_ready(dev)) {
        printk("Accelerometer sensor device %s not ready\n", dev->name);
        return -ENODEV;
    } else {
        printk("Accelerometer sensor device %s is ready\n", dev->name);
    }

    sensor_attr_set(dev, ACCEL_SENSOR_MODE, ACCEL_SENSOR_SPECIAL_ATTRS, &(struct sensor_value){ .val1 = ACCEL_SENSOR_MODE_ARMED, .val2 = 0 });
    // Set motion detection trigger
    // int rc = sensor_trigger_set(dev, &trig_warn, accel_motion_handler_warn);
    // if (rc) {
    //     printk("Failed to set WARN motion trigger (error %d)\n", rc);
    //     return rc;
    // }

    // int rc = sensor_trigger_set(dev, &trig_main, accel_motion_handler_main);
    // if (rc) {
    //     printk("Failed to set MAIN motion trigger (error %d)\n", rc);
    //     return rc;
    // }

    return 0;
}

SYS_INIT(init, APPLICATION, CONFIG_KERNEL_INIT_PRIORITY_DEVICE);
```

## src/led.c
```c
#include <zephyr/kernel.h>
#include <zephyr/device.h>
#include <zephyr/drivers/gpio.h>

#define LED0_NODE DT_ALIAS(led0)
#define CONFIG_LED_THREAD_PRIORITY 7

struct k_thread led_thread;
static K_KERNEL_STACK_DEFINE(led_thread_stack, 512);

static const struct gpio_dt_spec led = GPIO_DT_SPEC_GET(LED0_NODE, gpios);

void led_thread_fun(void *dummy1, void *dummy2, void *dummy3)
{
    while (1) {
        gpio_pin_toggle_dt(&led);
        k_msleep(500);
    }
}

static int init()
{
	if (!gpio_is_ready_dt(&led)) {
        printk("LED0 is not ready.\n");
		return 0;
	}

    int ret = gpio_pin_configure_dt(&led, GPIO_OUTPUT_INACTIVE);
	if (ret < 0) {
        printk("Unable to configure LED0.\n");
		return 0;
	}

	k_tid_t tid = k_thread_create(&led_thread, led_thread_stack,
        K_KERNEL_STACK_SIZEOF(led_thread_stack),
        led_thread_fun, (void *)&led, NULL, NULL,
        CONFIG_LED_THREAD_PRIORITY,
        0, K_NO_WAIT);
    if (!tid) {
        printk("thread creation failed\n");
        return -ENODEV;
    }
    k_thread_name_set(&led_thread, "LED");
    return 0;
}

SYS_INIT(init, APPLICATION, CONFIG_KERNEL_INIT_PRIORITY_DEVICE);
```

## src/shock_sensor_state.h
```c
#ifndef SHOCK_SENSOR_STATE_H
#define SHOCK_SENSOR_STATE_H

#include <zephyr/kernel.h>

struct Sensor_state {
    struct k_timer reset_timer;
    int tap_count;
    int warn_zone;
    int main_zone;
    int prev_warn_zone;
    int prev_main_zone;
    int64_t last_coarsering_time;
    int64_t last_tap_time;
};

#endif // SHOCK_SENSOR_STATE_H
```
